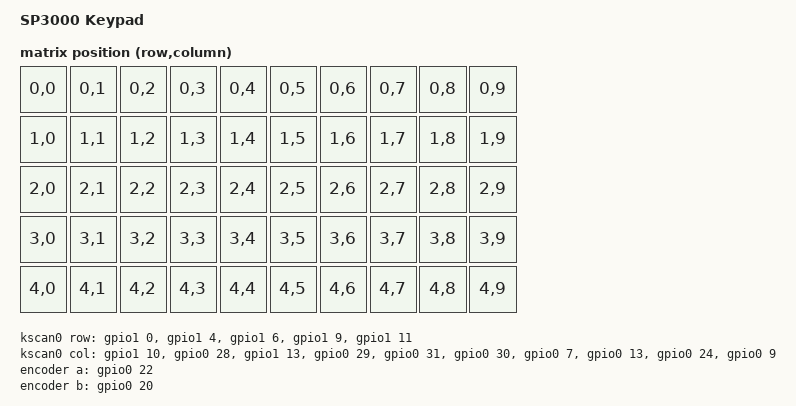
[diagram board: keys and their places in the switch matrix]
/*
 * SP3000 Scanner Keypad - Board Devicetree
 * 
 * MCU: E73-2G4M08S1C (nRF52840)
 * Matrix: 5 rows x 10 columns, row2col diodes
 * Encoder: EC11 rotary with push switch
 * LEDs: 43x SK6812Mini-E (via 74AHCT1G125 level shifter)
 * Battery: BQ24075 charger + MAX17048 fuel gauge + TPS63020 PSU
 * Crystal: 32.768 KHz on XL1/XL2 (P0.00/P0.01)
 *
 * Designed by Ceynetics (CS2025A Rev.A)
 * GPIO mapping extracted from KEYPAD.kicad_sch + KEY_MATRIX.kicad_sch
 */

/dts-v1/;
#include <nordic/nrf52840_qiaa.dtsi>
#include <dt-bindings/zmk/matrix_transform.h>
#include <dt-bindings/led/led.h>

/ {
    model = "SP3000 Keypad";
    compatible = "ceynetics,sp3000-keypad";

    chosen {
        zephyr,code-partition = &code_partition;
        zephyr,sram = &sram0;
        zephyr,flash = &flash0;
        zephyr,console = &cdc_acm_uart;
        zmk,kscan = &kscan0;
        zmk,matrix-transform = &default_transform;
        zmk,underglow = &led_strip;
        zmk,battery = &fuelgauge;
    };

    default_transform: keymap_transform_0 {
        compatible = "zmk,matrix-transform";
        columns = <10>;
        rows = <5>;

        /*
         * Full 5x10 grid. Unused positions get &none in the keymap.
         * Actual physical-to-matrix mapping TBD after evtest capture.
         */
        map = <
            RC(0,0) RC(0,1) RC(0,2) RC(0,3) RC(0,4) RC(0,5) RC(0,6) RC(0,7) RC(0,8) RC(0,9)
            RC(1,0) RC(1,1) RC(1,2) RC(1,3) RC(1,4) RC(1,5) RC(1,6) RC(1,7) RC(1,8) RC(1,9)
            RC(2,0) RC(2,1) RC(2,2) RC(2,3) RC(2,4) RC(2,5) RC(2,6) RC(2,7) RC(2,8) RC(2,9)
            RC(3,0) RC(3,1) RC(3,2) RC(3,3) RC(3,4) RC(3,5) RC(3,6) RC(3,7) RC(3,8) RC(3,9)
            RC(4,0) RC(4,1) RC(4,2) RC(4,3) RC(4,4) RC(4,5) RC(4,6) RC(4,7) RC(4,8) RC(4,9)
        >;
    };

    /*
     * Key Scan Matrix — GPIO Pin Mapping
     * ════════════════════════════════════
     * Extracted from KiCad schematic by matching global label positions
     * to E73-2G4M08S1C pin absolute coordinates (U1 at 199.39, 132.08).
     *
     * Rows (active-high outputs):
     *   ROW0 = P1.00   ROW1 = P1.04   ROW2 = P1.06
     *   ROW3 = P1.09   ROW4 = P1.11
     *
     * Columns (active-high inputs with pull-down):
     *   COL0 = P1.10   COL1 = P0.28   COL2 = P1.13   COL3 = P0.29
     *   COL4 = P0.31   COL5 = P0.30   COL6 = P0.07   COL7 = P0.13
     *   COL8 = P0.24   COL9 = P0.09
     *
     * Encoder:  ENC_A = P0.22   ENC_B = P0.20
     * LED data: P1.02 (via 74AHCT1G125 level shifter to 5V)
     * I2C:      SDA = P0.02   SCL = P0.03  (MAX17048 fuel gauge)
     *
     * Diode direction: row2col (D_Small at 270°, cathode toward row wire)
     */
    kscan0: kscan_0 {
        compatible = "zmk,kscan-gpio-matrix";
        wakeup-source;
        diode-direction = "row2col";

        row-gpios
            = <&gpio1  0 GPIO_ACTIVE_HIGH>   /* ROW0 — P1.00 */
            , <&gpio1  4 GPIO_ACTIVE_HIGH>   /* ROW1 — P1.04 */
            , <&gpio1  6 GPIO_ACTIVE_HIGH>   /* ROW2 — P1.06 */
            , <&gpio1  9 GPIO_ACTIVE_HIGH>   /* ROW3 — P1.09 */
            , <&gpio1 11 GPIO_ACTIVE_HIGH>   /* ROW4 — P1.11 */
            ;

        col-gpios
            = <&gpio1 10 (GPIO_ACTIVE_HIGH | GPIO_PULL_DOWN)>  /* COL0 — P1.10 */
            , <&gpio0 28 (GPIO_ACTIVE_HIGH | GPIO_PULL_DOWN)>  /* COL1 — P0.28 */
            , <&gpio1 13 (GPIO_ACTIVE_HIGH | GPIO_PULL_DOWN)>  /* COL2 — P1.13 */
            , <&gpio0 29 (GPIO_ACTIVE_HIGH | GPIO_PULL_DOWN)>  /* COL3 — P0.29 */
            , <&gpio0 31 (GPIO_ACTIVE_HIGH | GPIO_PULL_DOWN)>  /* COL4 — P0.31 */
            , <&gpio0 30 (GPIO_ACTIVE_HIGH | GPIO_PULL_DOWN)>  /* COL5 — P0.30 */
            , <&gpio0  7 (GPIO_ACTIVE_HIGH | GPIO_PULL_DOWN)>  /* COL6 — P0.07 */
            , <&gpio0 13 (GPIO_ACTIVE_HIGH | GPIO_PULL_DOWN)>  /* COL7 — P0.13 */
            , <&gpio0 24 (GPIO_ACTIVE_HIGH | GPIO_PULL_DOWN)>  /* COL8 — P0.24 */
            , <&gpio0  9 (GPIO_ACTIVE_HIGH | GPIO_PULL_DOWN)>  /* COL9 — P0.09 */
            ;
    };

    /* Rotary Encoder — EC11E09244BS */
    sensors: sensors {
        compatible = "zmk,keymap-sensors";
        sensors = <&encoder>;
        triggers-per-rotation = <20>;
    };

    encoder: encoder_0 {
        compatible = "alps,ec11";
        a-gpios = <&gpio0 22 (GPIO_ACTIVE_HIGH | GPIO_PULL_UP)>;  /* ENC_A — P0.22 */
        b-gpios = <&gpio0 20 (GPIO_ACTIVE_HIGH | GPIO_PULL_UP)>;  /* ENC_B — P0.20 */
        steps = <80>;
        status = "okay";
    };
};

/* ── USB ────────────────────────────────────────────────── */
&usbd {
    status = "okay";
    cdc_acm_uart: cdc_acm_uart {
        compatible = "zephyr,cdc-acm-uart";
    };
};

/* ── I2C0 — MAX17048 fuel gauge (addr 0x36) ──────────── */
&i2c0 {
    compatible = "nordic,nrf-twi";
    status = "okay";
    pinctrl-0 = <&i2c0_default>;
    pinctrl-names = "default";

    fuelgauge: max17048@36 {
        compatible = "maxim,max17048";
        reg = <0x36>;
        status = "okay";
    };
};

/* ── SPI3 — SK6812Mini-E LED strip (43 LEDs) ─────────── */
&spi3 {
    compatible = "nordic,nrf-spim";
    status = "okay";
    pinctrl-0 = <&spi3_default>;
    pinctrl-names = "default";

    led_strip: ws2812@0 {
        compatible = "worldsemi,ws2812-spi";
        reg = <0>;
        spi-max-frequency = <4000000>;
        chain-length = <43>;
        spi-one-frame = <0x70>;
        spi-zero-frame = <0x40>;
        color-mapping = <LED_COLOR_ID_GREEN LED_COLOR_ID_RED LED_COLOR_ID_BLUE>;
    };
};

/* ── Pin Control ─────────────────────────────────────── */
&pinctrl {
    i2c0_default: i2c0_default {
        group1 {
            psels = <NRF_PSEL(TWIM_SDA, 0, 2)>,    /* SDA — P0.02 */
                    <NRF_PSEL(TWIM_SCL, 0, 3)>;     /* SCL — P0.03 */
        };
    };

    spi3_default: spi3_default {
        group1 {
            psels = <NRF_PSEL(SPIM_MOSI, 1, 2)>,    /* LED_DATA — P1.02 (→ level shifter → LEDs) */
                    <NRF_PSEL(SPIM_SCK,  0, 5)>,     /* Unused SCK — P0.05 (free pin) */
                    <NRF_PSEL(SPIM_MISO, 0, 26)>;    /* Unused MISO — P0.26 (free pin) */
        };
    };
};

/* ── Flash partitions ────────────────────────────────── */
&flash0 {
    partitions {
        compatible = "fixed-partitions";
        #address-cells = <1>;
        #size-cells = <1>;

        sd_partition: partition@0 {
            reg = <0x00000000 0x00001000>;
        };

        code_partition: partition@1000 {
            reg = <0x00001000 0x000d3000>;
        };

        storage_partition: partition@d4000 {
            reg = <0x000d4000 0x00020000>;
        };

        boot_partition: partition@f4000 {
            reg = <0x000f4000 0x0000c000>;
        };
    };
};
